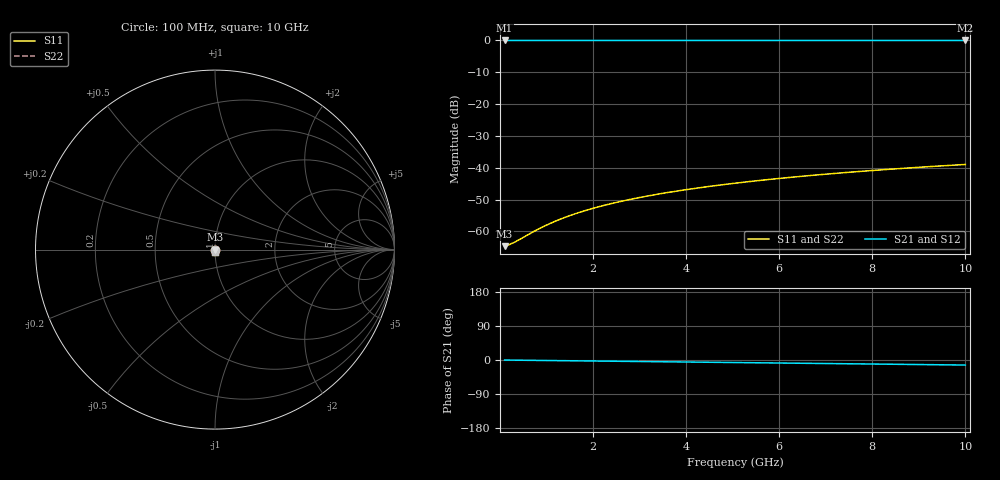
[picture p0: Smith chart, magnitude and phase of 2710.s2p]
# Hz S RI R 50.00
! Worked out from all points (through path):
!   100 points, 100 MHz to 10 GHz, reference 50 ohm
!   highest |S21| = -0.01 dB at 100 MHz (marker M1); lowest = 0.0 dB at 10 GHz (marker M2)
!   group delay of S21, straight-line fit = 3.7 ps
!   lowest |S11| = -64.6 dB at 100 MHz (marker M3), VSWR 1.00, Z = 50.1 - j0.0113 ohm
!   |S11| at or under -10 dB: start of sweep to end of sweep
!   |S22| runs from -64.6 to -39.0 dB; largest |S21 - S12| = 0
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1e8  0.000577 -0.000113  0.9994 -0.0023  0.9994 -0.0023  0.000577 -0.000113
2e8  0.000579 -0.000225  0.9994 -0.00461  0.9994 -0.00461  0.000579 -0.000225
3e8  0.00058 -0.000338  0.9994 -0.00691  0.9994 -0.00691  0.00058 -0.000338
8e8  0.000569 -0.000902  0.9992 -0.0184  0.9992 -0.0184  0.000569 -0.000902
9e8  0.000565 -0.00101  0.9992 -0.0207  0.9992 -0.0207  0.000565 -0.00101
1.1e9  0.000555 -0.00124  0.9991 -0.0253  0.9991 -0.0253  0.000555 -0.00124
1.4e9  0.000535 -0.00158  0.9989 -0.0323  0.9989 -0.0323  0.000535 -0.00158
1.6e9  0.00052 -0.00181  0.9987 -0.0369  0.9987 -0.0369  0.00052 -0.00181
1.8e9  0.000502 -0.00203  0.9985 -0.0415  0.9985 -0.0415  0.000502 -0.00203
2.1e9  0.000471 -0.00237  0.9982 -0.0484  0.9982 -0.0484  0.000471 -0.00237
2.5e9  0.000422 -0.00283  0.9977 -0.0576  0.9977 -0.0576  0.000422 -0.00283
2.9e9  0.000364 -0.00328  0.9971 -0.0668  0.9971 -0.0668  0.000364 -0.00328
3.4e9  0.000279 -0.00385  0.9963 -0.0784  0.9963 -0.0784  0.000279 -0.00385
3.8e9  0.000202 -0.00431  0.9955 -0.0876  0.9955 -0.0876  0.000202 -0.00431
4.2e9  0.000117 -0.00476  0.9946 -0.0968  0.9946 -0.0968  0.000117 -0.00476
4.6e9  2.23e-05 -0.00522  0.9937 -0.106  0.9937 -0.106  2.23e-05 -0.00522
5.1e9  -0.000108 -0.00578  0.9924 -0.1176  0.9924 -0.1176  -0.000108 -0.00578
5.9e9  -0.000343 -0.00668  0.99 -0.136  0.99 -0.136  -0.000343 -0.00668
6.7e9  -0.000612 -0.00758  0.9872 -0.1544  0.9872 -0.1544  -0.000612 -0.00758
7.5e9  -0.000914 -0.00846  0.9842 -0.1728  0.9842 -0.1728  -0.000914 -0.00846
8.4e9  -0.00129 -0.00943  0.9803 -0.1935  0.9803 -0.1935  -0.00129 -0.00943
1e10  -0.00206 -0.0111  0.9723 -0.2301  0.9723 -0.2301  -0.00206 -0.0111
